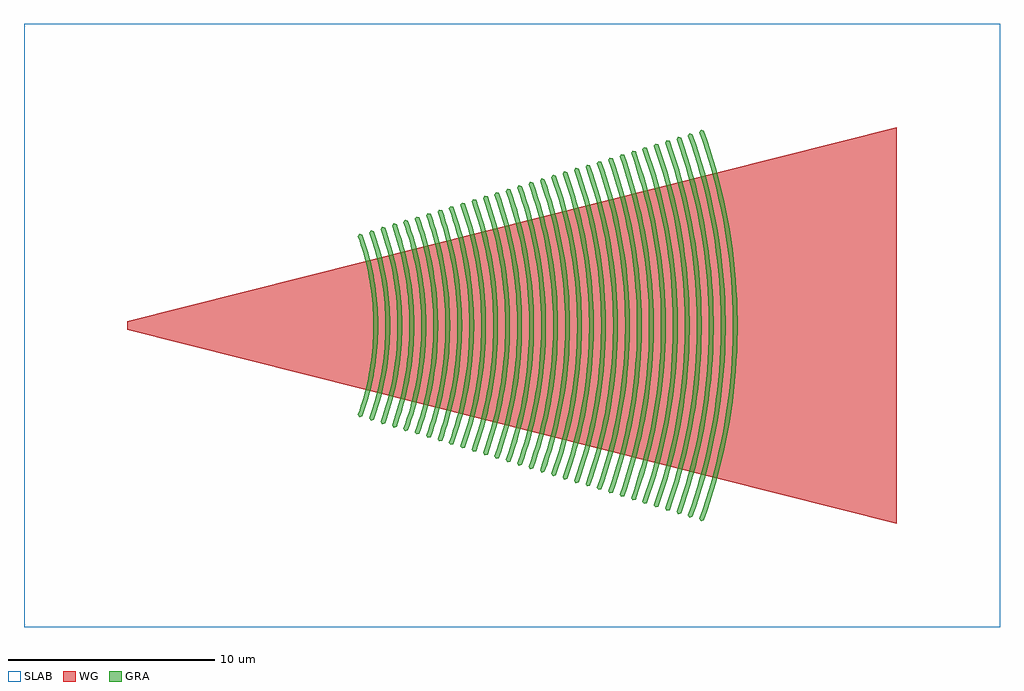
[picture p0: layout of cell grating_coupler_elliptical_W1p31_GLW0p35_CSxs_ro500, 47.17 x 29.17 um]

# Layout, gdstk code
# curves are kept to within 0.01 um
import gdstk
lib = gdstk.Library(unit=1e-6, precision=1e-09)
def R(c, l, rs):  # rectangles x0, y0, x1, y1
    for r in rs: c.add(gdstk.rectangle(r[:2], r[2:], *l))
def P(c, l, *ps):  # polygons
    for p in ps: c.add(gdstk.Polygon(p, *l))
WG = (3, 0)
SLAB = (5, 0)
GRA = (6, 0)

grating_coupler_elliptic = lib.new_cell('grating_coupler_elliptical_W1p31_GLW0p35_CSxs_ro500')
P(grating_coupler_elliptic, WG, [(40.22,-9.584),(3.05,-0.2),(3.05,0.2),(40.22,9.584)])
R(grating_coupler_elliptic, SLAB, [(-1.95,-14.584,45.22,14.584)])
P(grating_coupler_elliptic, GRA, [(14.273,-4.429),(14.19,-4.319),(14.401,-3.674),(14.579,-3.02),(14.677,-2.579),(14.796,-1.912),(14.899,-1.015),(14.939,-0.113),(14.915,0.79),(14.879,1.24),(14.796,1.912),(14.677,2.579),(14.579,3.02),(14.401,3.674),(14.19,4.319),(14.273,4.429),(14.406,4.395),(14.685,3.519),(14.901,2.625),(14.986,2.173),(15.083,1.491),(15.143,0.804),(15.168,0.115),(15.155,-0.574),(15.107,-1.262),(15.055,-1.719),(14.946,-2.4),(14.745,-3.297),(14.481,-4.178),(14.406,-4.395)],
  [(14.823,-4.596),(14.74,-4.486),(14.959,-3.817),(15.144,-3.137),(15.246,-2.679),(15.37,-1.986),(15.477,-1.054),(15.518,-0.117),(15.506,0.586),(15.477,1.054),(15.37,1.986),(15.246,2.679),(15.144,3.137),(14.959,3.817),(14.74,4.486),(14.823,4.596),(14.956,4.562),(15.035,4.338),(15.308,3.423),(15.47,2.725),(15.596,2.02),(15.659,1.547),(15.721,0.834),(15.746,0.119),(15.734,-0.596),(15.705,-1.072),(15.63,-1.784),(15.517,-2.491),(15.308,-3.423),(15.035,-4.338),(14.956,-4.562)],
  [(15.373,-4.764),(15.29,-4.655),(15.517,-3.959),(15.709,-3.254),(15.815,-2.779),(15.943,-2.061),(16.054,-1.094),(16.097,-0.122),(16.072,0.851),(16.033,1.336),(15.943,2.061),(15.815,2.779),(15.709,3.254),(15.517,3.959),(15.29,4.655),(15.373,4.764),(15.506,4.729),(15.586,4.497),(15.871,3.548),(16.039,2.825),(16.13,2.339),(16.235,1.604),(16.3,0.865),(16.326,0.124),(16.312,-0.618),(16.261,-1.358),(16.204,-1.85),(16.087,-2.583),(15.871,-3.548),(15.664,-4.262),(15.506,-4.729)],
  [(15.923,-4.932),(15.84,-4.823),(16.076,-4.102),(16.274,-3.371),(16.384,-2.879),(16.517,-2.135),(16.632,-1.133),(16.676,-0.126),(16.65,0.882),(16.609,1.384),(16.517,2.135),(16.384,2.879),(16.274,3.371),(16.076,4.102),(15.84,4.823),(15.923,4.932),(16.056,4.897),(16.139,4.656),(16.434,3.674),(16.608,2.925),(16.743,2.169),(16.837,1.406),(16.878,0.896),(16.904,0.128),(16.9,-0.384),(16.86,-1.151),(16.779,-1.915),(16.658,-2.674),(16.434,-3.674),(16.22,-4.413),(16.056,-4.897)],
  [(16.473,-5.099),(16.39,-4.989),(16.634,-4.244),(16.839,-3.489),(16.953,-2.979),(17.09,-2.209),(17.209,-1.173),(17.242,-0.652),(17.254,-0.13),(17.228,0.912),(17.186,1.432),(17.09,2.209),(16.953,2.979),(16.839,3.489),(16.634,4.244),(16.39,4.989),(16.473,5.099),(16.606,5.065),(16.692,4.816),(16.997,3.8),(17.177,3.025),(17.316,2.243),(17.386,1.718),(17.456,0.926),(17.484,0.132),(17.47,-0.662),(17.414,-1.454),(17.354,-1.981),(17.228,-2.765),(16.997,-3.8),(16.775,-4.564),(16.606,-5.065)],
  [(17.022,-5.267),(16.939,-5.157),(17.192,-4.387),(17.404,-3.606),(17.573,-2.815),(17.663,-2.283),(17.787,-1.212),(17.834,-0.135),(17.83,0.404),(17.787,1.212),(17.663,2.283),(17.573,2.815),(17.404,3.606),(17.192,4.387),(16.939,5.157),(17.022,5.267),(17.155,5.233),(17.245,4.975),(17.412,4.453),(17.559,3.925),(17.745,3.126),(17.889,2.317),(17.991,1.503),(18.034,0.957),(18.062,0.137),(18.058,-0.41),(18.015,-1.23),(17.928,-2.046),(17.799,-2.857),(17.626,-3.66),(17.331,-4.715),(17.155,-5.233)],
  [(17.572,-5.434),(17.489,-5.324),(17.75,-4.529),(17.969,-3.723),(18.09,-3.18),(18.237,-2.357),(18.364,-1.251),(18.399,-0.696),(18.412,-0.139),(18.408,0.418),(18.384,0.974),(18.31,1.805),(18.237,2.357),(18.09,3.18),(17.969,3.723),(17.75,4.529),(17.489,5.324),(17.572,5.434),(17.705,5.4),(17.798,5.134),(17.97,4.595),(18.122,4.051),(18.314,3.226),(18.463,2.391),(18.538,1.831),(18.612,0.988),(18.642,0.141),(18.627,-0.706),(18.592,-1.269),(18.503,-2.112),(18.369,-2.948),(18.191,-3.777),(17.886,-4.866),(17.705,-5.4)],
  [(18.122,-5.602),(18.039,-5.492),(18.224,-4.946),(18.463,-4.119),(18.659,-3.28),(18.765,-2.715),(18.916,-1.577),(18.962,-1.004),(18.992,-0.144),(18.987,0.431),(18.962,1.004),(18.916,1.577),(18.81,2.432),(18.659,3.28),(18.534,3.84),(18.308,4.672),(18.039,5.492),(18.122,5.602),(18.255,5.568),(18.35,5.293),(18.609,4.458),(18.756,3.894),(18.883,3.326),(19.036,2.466),(19.144,1.599),(19.19,1.018),(19.22,0.146),(19.205,-0.728),(19.144,-1.599),(19.078,-2.177),(18.94,-3.04),(18.685,-4.177),(18.442,-5.016),(18.255,-5.568)],
  [(18.672,-5.769),(18.589,-5.659),(18.866,-4.815),(19.099,-3.957),(19.228,-3.38),(19.384,-2.506),(19.519,-1.33),(19.556,-0.739),(19.57,-0.148),(19.566,0.444),(19.54,1.035),(19.493,1.625),(19.384,2.506),(19.228,3.38),(19.099,3.957),(18.866,4.815),(18.589,5.659),(18.672,5.769),(18.805,5.735),(18.903,5.453),(19.086,4.881),(19.248,4.302),(19.452,3.426),(19.61,2.54),(19.721,1.647),(19.784,0.749),(19.799,0.15),(19.784,-0.749),(19.721,-1.647),(19.653,-2.243),(19.51,-3.131),(19.389,-3.719),(19.248,-4.302),(18.997,-5.167),(18.805,-5.735)],
  [(19.222,-5.937),(19.139,-5.827),(19.335,-5.248),(19.589,-4.37),(19.797,-3.48),(19.909,-2.881),(20.037,-1.976),(20.096,-1.37),(20.134,-0.761),(20.15,-0.152),(20.145,0.457),(20.118,1.066),(20.037,1.976),(19.957,2.58),(19.797,3.48),(19.664,4.075),(19.424,4.957),(19.139,5.827),(19.222,5.937),(19.355,5.903),(19.456,5.612),(19.644,5.023),(19.811,4.428),(20.021,3.526),(20.135,2.919),(20.265,2.002),(20.346,1.08),(20.378,0.154),(20.373,-0.463),(20.324,-1.388),(20.227,-2.308),(20.081,-3.223),(19.956,-3.828),(19.811,-4.428),(19.553,-5.318),(19.355,-5.903)],
  [(19.772,-6.105),(19.689,-5.995),(19.982,-5.1),(20.229,-4.192),(20.366,-3.58),(20.531,-2.654),(20.613,-2.033),(20.674,-1.409),(20.713,-0.783),(20.728,-0.157),(20.724,0.47),(20.696,1.096),(20.613,2.033),(20.531,2.654),(20.366,3.58),(20.229,4.192),(19.982,5.1),(19.689,5.995),(19.772,6.105),(19.905,6.071),(20.01,5.771),(20.202,5.166),(20.374,4.554),(20.59,3.626),(20.707,3.002),(20.841,2.059),(20.924,1.11),(20.958,0.159),(20.941,-0.793),(20.902,-1.427),(20.802,-2.374),(20.651,-3.314),(20.523,-3.936),(20.374,-4.554),(20.108,-5.469),(19.905,-6.071)],
  [(20.322,-6.272),(20.239,-6.162),(20.446,-5.55),(20.714,-4.622),(20.934,-3.68),(21.053,-3.047),(21.149,-2.409),(21.223,-1.769),(21.274,-1.127),(21.308,-0.161),(21.303,0.483),(21.274,1.127),(21.223,1.769),(21.104,2.728),(20.996,3.364),(20.794,4.309),(20.54,5.242),(20.239,6.162),(20.322,6.272),(20.455,6.238),(20.664,5.62),(20.851,4.995),(21.016,4.363),(21.222,3.406),(21.377,2.439),(21.451,1.791),(21.502,1.141),(21.536,0.163),(21.519,-0.815),(21.451,-1.791),(21.377,-2.439),(21.222,-3.406),(21.016,-4.363),(20.851,-4.995),(20.664,-5.62),(20.455,-6.238)],
  [(20.872,-6.44),(20.789,-6.331),(21.099,-5.385),(21.277,-4.747),(21.503,-3.78),(21.625,-3.129),(21.764,-2.146),(21.829,-1.488),(21.87,-0.827),(21.886,-0.165),(21.87,0.827),(21.829,1.488),(21.764,2.146),(21.677,2.803),(21.503,3.78),(21.359,4.426),(21.099,5.385),(20.789,6.331),(20.872,6.44),(21.005,6.405),(21.115,6.09),(21.319,5.451),(21.499,4.805),(21.727,3.826),(21.851,3.167),(21.992,2.172),(22.08,1.172),(22.116,0.167),(22.098,-0.837),(22.057,-1.506),(21.951,-2.505),(21.792,-3.497),(21.581,-4.48),(21.411,-5.129),(21.219,-5.771),(21.005,-6.405)],
  [(21.422,-6.607),(21.339,-6.497),(21.557,-5.852),(21.84,-4.873),(22.072,-3.88),(22.197,-3.212),(22.34,-2.203),(22.406,-1.527),(22.448,-0.849),(22.466,-0.17),(22.46,0.509),(22.43,1.188),(22.376,1.865),(22.251,2.877),(22.072,3.88),(21.924,4.543),(21.657,5.527),(21.339,6.497),(21.422,6.607),(21.555,6.573),(21.775,5.922),(22.062,4.931),(22.224,4.262),(22.363,3.589),(22.526,2.57),(22.604,1.887),(22.658,1.202),(22.694,0.172),(22.676,-0.859),(22.604,-1.887),(22.526,-2.57),(22.363,-3.589),(22.224,-4.262),(22.062,-4.931),(21.775,-5.922),(21.555,-6.573)],
  [(21.972,-6.775),(21.889,-6.666),(22.215,-5.67),(22.403,-4.999),(22.641,-3.98),(22.769,-3.295),(22.874,-2.606),(22.953,-1.914),(23.027,-0.871),(23.044,-0.174),(23.039,0.523),(23.008,1.219),(22.953,1.914),(22.824,2.951),(22.641,3.98),(22.489,4.661),(22.215,5.67),(21.889,6.666),(21.972,6.775),(22.105,6.74),(22.33,6.073),(22.625,5.057),(22.865,4.026),(22.995,3.333),(23.144,2.286),(23.236,1.233),(23.273,0.176),(23.255,-0.881),(23.181,-1.936),(23.1,-2.636),(22.933,-3.68),(22.711,-4.715),(22.435,-5.736),(22.105,-6.74)],
  [(22.522,-6.942),(22.439,-6.832),(22.668,-6.154),(22.966,-5.124),(23.21,-4.08),(23.341,-3.378),(23.491,-2.317),(23.561,-1.606),(23.605,-0.893),(23.624,-0.179),(23.618,0.536),(23.561,1.606),(23.491,2.317),(23.398,3.025),(23.21,4.08),(23.054,4.778),(22.773,5.813),(22.439,6.832),(22.522,6.942),(22.655,6.908),(22.993,5.879),(23.276,4.832),(23.504,3.772),(23.675,2.701),(23.757,1.984),(23.814,1.264),(23.852,0.181),(23.846,-0.542),(23.789,-1.624),(23.675,-2.701),(23.504,-3.772),(23.276,-4.832),(22.993,-5.879),(22.655,-6.908)],
  [(23.072,-7.11),(22.989,-7),(23.223,-6.305),(23.529,-5.25),(23.779,-4.18),(23.913,-3.461),(24.022,-2.737),(24.106,-2.01),(24.184,-0.915),(24.202,-0.183),(24.197,0.549),(24.164,1.28),(24.106,2.01),(23.971,3.099),(23.779,4.18),(23.619,4.895),(23.331,5.955),(22.989,7),(23.072,7.11),(23.205,7.076),(23.441,6.375),(23.751,5.308),(24.003,4.226),(24.139,3.499),(24.295,2.4),(24.392,1.294),(24.432,0.185),(24.412,-0.925),(24.334,-2.032),(24.25,-2.767),(24.074,-3.863),(23.841,-4.949),(23.551,-6.021),(23.205,-7.076)],
  [(23.622,-7.278),(23.539,-7.169),(23.779,-6.456),(24.092,-5.376),(24.347,-4.281),(24.485,-3.544),(24.596,-2.803),(24.683,-2.058),(24.762,-0.937),(24.782,-0.187),(24.776,0.562),(24.716,1.685),(24.643,2.431),(24.545,3.174),(24.347,4.281),(24.184,5.012),(23.889,6.098),(23.539,7.169),(23.622,7.278),(23.755,7.243),(24.109,6.164),(24.406,5.066),(24.645,3.955),(24.771,3.208),(24.911,2.08),(24.99,0.947),(25.01,0.189),(24.99,-0.947),(24.911,-2.08),(24.771,-3.208),(24.645,-3.955),(24.406,-5.066),(24.109,-6.164),(23.755,-7.243)],
  [(24.171,-7.445),(24.088,-7.335),(24.335,-6.607),(24.654,-5.501),(24.916,-4.381),(25.057,-3.627),(25.172,-2.868),(25.293,-1.724),(25.341,-0.958),(25.36,-0.192),(25.354,0.575),(25.32,1.341),(25.219,2.487),(25.118,3.248),(24.916,4.381),(24.749,5.129),(24.447,6.24),(24.088,7.335),(24.171,7.445),(24.304,7.411),(24.667,6.306),(24.971,5.183),(25.215,4.046),(25.344,3.282),(25.487,2.128),(25.569,0.968),(25.59,0.194),(25.569,-0.968),(25.487,-2.128),(25.344,-3.282),(25.215,-4.046),(24.971,-5.183),(24.667,-6.306),(24.304,-7.411)],
  [(24.721,-7.613),(24.638,-7.503),(24.89,-6.758),(25.217,-5.627),(25.485,-4.481),(25.629,-3.709),(25.746,-2.934),(25.871,-1.763),(25.919,-0.98),(25.94,-0.196),(25.933,0.588),(25.871,1.763),(25.794,2.544),(25.691,3.322),(25.485,4.481),(25.314,5.247),(25.005,6.383),(24.638,7.503),(24.721,7.613),(24.854,7.579),(25.225,6.449),(25.536,5.301),(25.786,4.138),(25.974,2.964),(26.064,2.176),(26.147,0.99),(26.168,0.198),(26.161,-0.594),(26.099,-1.781),(25.974,-2.964),(25.786,-4.138),(25.536,-5.301),(25.225,-6.449),(24.854,-7.579)],
  [(25.271,-7.78),(25.188,-7.67),(25.446,-6.909),(25.78,-5.753),(26.054,-4.581),(26.201,-3.792),(26.32,-2.999),(26.413,-2.202),(26.498,-1.002),(26.518,-0.201),(26.498,1.002),(26.448,1.803),(26.37,2.601),(26.265,3.396),(26.054,4.581),(25.879,5.364),(25.564,6.525),(25.188,7.67),(25.271,7.78),(25.404,7.746),(25.784,6.591),(26.101,5.418),(26.356,4.229),(26.491,3.43),(26.641,2.224),(26.726,1.012),(26.747,0.203),(26.726,-1.012),(26.641,-2.224),(26.548,-3.029),(26.356,-4.229),(26.101,-5.418),(25.784,-6.591),(25.404,-7.746)],
  [(25.821,-7.948),(25.738,-7.838),(26.001,-7.06),(26.343,-5.878),(26.623,-4.681),(26.773,-3.875),(26.896,-3.065),(27.026,-1.842),(27.076,-1.024),(27.098,-0.205),(27.091,0.615),(27.055,1.433),(26.946,2.658),(26.838,3.47),(26.623,4.681),(26.444,5.481),(26.122,6.668),(25.738,7.838),(25.821,7.948),(25.954,7.914),(26.342,6.734),(26.666,5.535),(26.927,4.321),(27.122,3.095),(27.217,2.272),(27.283,1.447),(27.326,0.207),(27.319,-0.621),(27.254,-1.86),(27.122,-3.095),(26.927,-4.321),(26.666,-5.535),(26.342,-6.734),(25.954,-7.914)],
  [(26.371,-8.115),(26.288,-8.005),(26.557,-7.211),(26.906,-6.004),(27.191,-4.781),(27.345,-3.958),(27.522,-2.715),(27.603,-1.882),(27.655,-1.046),(27.676,-0.209),(27.67,0.628),(27.633,1.464),(27.522,2.715),(27.412,3.545),(27.191,4.781),(27.009,5.598),(26.68,6.811),(26.288,8.005),(26.371,8.115),(26.504,8.081),(26.9,6.877),(27.231,5.652),(27.497,4.412),(27.698,3.16),(27.794,2.32),(27.861,1.478),(27.906,0.211),(27.883,-1.056),(27.794,-2.32),(27.698,-3.16),(27.497,-4.412),(27.231,-5.652),(26.9,-6.877),(26.504,-8.081)],
  [(26.921,-8.283),(26.838,-8.173),(27.112,-7.362),(27.469,-6.13),(27.76,-4.881),(27.917,-4.041),(28.044,-3.196),(28.143,-2.347),(28.211,-1.495),(28.256,-0.214),(28.248,0.641),(28.211,1.495),(28.143,2.347),(27.985,3.619),(27.76,4.881),(27.574,5.715),(27.238,6.953),(26.838,8.173),(26.921,8.283),(27.054,8.249),(27.458,7.019),(27.796,5.769),(28.068,4.504),(28.272,3.226),(28.371,2.369),(28.439,1.509),(28.484,0.216),(28.461,-1.078),(28.371,-2.369),(28.272,-3.226),(28.068,-4.504),(27.796,-5.769),(27.458,-7.019),(27.054,-8.249)],
  [(27.471,-8.451),(27.388,-8.341),(27.668,-7.513),(28.032,-6.256),(28.329,-4.981),(28.489,-4.124),(28.673,-2.828),(28.758,-1.96),(28.812,-1.09),(28.834,-0.218),(28.827,0.654),(28.789,1.525),(28.719,2.395),(28.559,3.693),(28.329,4.981),(28.139,5.832),(27.796,7.096),(27.388,8.341),(27.471,8.451),(27.604,8.417),(28.016,7.162),(28.361,5.886),(28.639,4.595),(28.847,3.291),(28.947,2.417),(29.017,1.539),(29.064,0.22),(29.04,-1.1),(28.986,-1.978),(28.847,-3.291),(28.639,-4.595),(28.361,-5.886),(28.016,-7.162),(27.604,-8.417)],
  [(28.021,-8.618),(27.938,-8.508),(28.223,-7.664),(28.594,-6.381),(28.898,-5.081),(29.061,-4.207),(29.194,-3.327),(29.296,-2.443),(29.367,-1.556),(29.414,-0.222),(29.406,0.667),(29.367,1.556),(29.296,2.443),(29.132,3.767),(28.898,5.081),(28.704,5.95),(28.354,7.238),(27.938,8.508),(28.021,8.618),(28.154,8.584),(28.574,7.304),(28.926,6.004),(29.209,4.687),(29.422,3.357),(29.524,2.465),(29.595,1.57),(29.642,0.224),(29.618,-1.122),(29.524,-2.465),(29.422,-3.357),(29.209,-4.687),(28.926,-6.004),(28.574,-7.304),(28.154,-8.584)],
  [(28.571,-8.786),(28.488,-8.676),(28.779,-7.815),(29.157,-6.507),(29.467,-5.181),(29.633,-4.289),(29.769,-3.392),(29.913,-2.039),(29.969,-1.134),(29.992,-0.227),(29.985,0.68),(29.945,1.587),(29.825,2.942),(29.705,3.841),(29.467,5.181),(29.269,6.067),(28.912,7.381),(28.488,8.676),(28.571,8.786),(28.704,8.752),(29.132,7.447),(29.491,6.121),(29.78,4.778),(29.931,3.875),(30.101,2.513),(30.173,1.601),(30.222,0.229),(30.197,-1.144),(30.101,-2.513),(29.931,-3.875),(29.78,-4.778),(29.491,-6.121),(29.132,-7.447),(28.704,-8.752)],
  [(29.121,-8.953),(29.038,-8.844),(29.334,-7.966),(29.72,-6.633),(30.036,-5.281),(30.205,-4.372),(30.343,-3.458),(30.49,-2.078),(30.547,-1.156),(30.572,-0.231),(30.564,0.693),(30.523,1.617),(30.449,2.539),(30.279,3.916),(30.036,5.281),(29.834,6.184),(29.47,7.524),(29.038,8.844),(29.121,8.953),(29.254,8.918),(29.69,7.59),(30.056,6.238),(30.35,4.87),(30.571,3.488),(30.677,2.561),(30.751,1.631),(30.8,0.233),(30.775,-1.166),(30.677,-2.561),(30.571,-3.488),(30.35,-4.87),(30.056,-6.238),(29.69,-7.59),(29.254,-8.918)],
  [(29.671,-9.121),(29.588,-9.012),(29.89,-8.117),(30.283,-6.758),(30.505,-5.842),(30.778,-4.455),(30.976,-3.056),(31.068,-2.118),(31.126,-1.177),(31.15,-0.236),(31.143,0.707),(31.068,2.118),(30.976,3.056),(30.852,3.99),(30.695,4.919),(30.399,6.301),(30.029,7.666),(29.588,9.012),(29.671,9.121),(29.804,9.086),(30.249,7.732),(30.621,6.355),(30.921,4.961),(31.146,3.553),(31.254,2.609),(31.329,1.662),(31.38,0.238),(31.371,-0.713),(31.296,-2.136),(31.146,-3.553),(30.921,-4.961),(30.621,-6.355),(30.249,-7.732),(29.804,-9.086)],
  [(30.221,-9.288),(30.138,-9.178),(30.587,-7.809),(30.846,-6.884),(31.173,-5.482),(31.35,-4.538),(31.492,-3.589),(31.603,-2.635),(31.679,-1.679),(31.73,-0.24),(31.721,0.72),(31.679,1.679),(31.603,2.635),(31.426,4.064),(31.173,5.482),(30.964,6.418),(30.587,7.809),(30.138,9.178),(30.221,9.288),(30.354,9.254),(30.807,7.875),(31.186,6.472),(31.491,5.053),(31.72,3.619),(31.831,2.657),(31.907,1.693),(31.958,0.242),(31.932,-1.209),(31.831,-2.657),(31.72,-3.619),(31.491,-5.053),(31.186,-6.472),(30.807,-7.875),(30.354,-9.254)],
  [(30.77,-9.456),(30.687,-9.346),(31.001,-8.418),(31.409,-7.01),(31.742,-5.582),(31.922,-4.621),(32.067,-3.654),(32.222,-2.197),(32.283,-1.221),(32.308,-0.244),(32.3,0.733),(32.257,1.709),(32.179,2.683),(31.999,4.138),(31.742,5.582),(31.529,6.536),(31.145,7.951),(30.687,9.346),(30.77,9.456),(30.903,9.422),(31.365,8.017),(31.751,6.59),(32.062,5.144),(32.295,3.684),(32.407,2.705),(32.485,1.723),(32.538,0.246),(32.511,-1.231),(32.407,-2.705),(32.295,-3.684),(32.062,-5.144),(31.751,-6.59),(31.365,-8.017),(30.903,-9.422)])

lib.write_gds('grating_coupler_elliptical_W1p31_GLW0p35_CSxs_ro500.gds')
